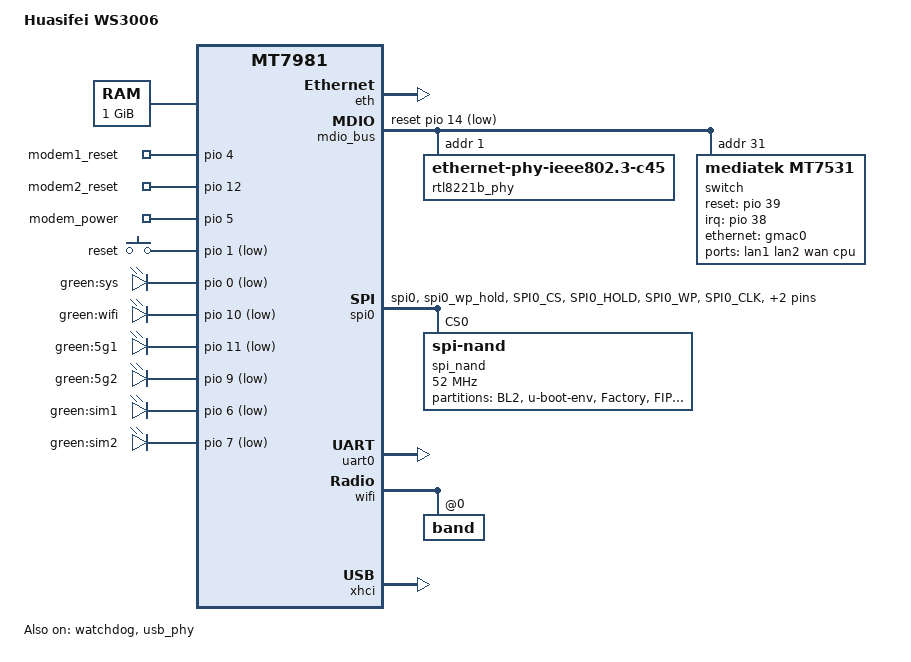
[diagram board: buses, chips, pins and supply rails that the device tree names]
// SPDX-License-Identifier: GPL-2.0-or-later OR MIT

/dts-v1/;
#include <dt-bindings/gpio/gpio.h>
#include <dt-bindings/input/input.h>
#include <dt-bindings/leds/common.h>
#include <dt-bindings/pinctrl/mt65xx.h>

#include "mt7981b.dtsi"

/ {
	model = "Huasifei WS3006";
	compatible = "huasifei,ws3006", "mediatek,mt7981";

	aliases {
		serial0 = &uart0;
		led-boot = &led_sys;
		led-failsafe = &led_sys;
		led-running = &led_sys;
		led-upgrade = &led_sys;
	};

	chosen {
		stdout-path = "serial0:115200n8";
	};

	memory {
		reg = <0 0x40000000 0 0x40000000>;
		device_type = "memory";
	};

	gpio-export {
		compatible = "gpio-export";

		modem1-reset {
			gpio-export,name = "modem1_reset";
			gpio-export,output = <1>;
			gpios = <&pio 4 GPIO_ACTIVE_HIGH>;
		};

		modem2-reset {
			gpio-export,name = "modem2_reset";
			gpio-export,output = <1>;
			gpios = <&pio 12 GPIO_ACTIVE_HIGH>;
		};

		modem-power {
			gpio-export,name = "modem_power";
			gpio-export,output = <0>;
			gpios = <&pio 5 GPIO_ACTIVE_HIGH>;
		};
	};

	gpio-keys {
		compatible = "gpio-keys";

		reset {
			label = "reset";
			linux,code = <KEY_RESTART>;
			gpios = <&pio 1 GPIO_ACTIVE_LOW>;
		};
	};

	gpio-leds {
		compatible = "gpio-leds";

		led_sys: led-0 {
			label = "green:sys";
			gpios = <&pio 0 GPIO_ACTIVE_LOW>;
		};

		led-1 {
			label = "green:wifi";
			gpios = <&pio 10 GPIO_ACTIVE_LOW>;
			linux,default-trigger = "phy0tpt";
		};

		led-2 {
			label = "green:5g1";
			gpios = <&pio 11 GPIO_ACTIVE_LOW>;
		};

		led-3 {
			label = "green:5g2";
			gpios = <&pio 9 GPIO_ACTIVE_LOW>;
		};

		led-4 {
			label = "green:sim1";
			gpios = <&pio 6 GPIO_ACTIVE_LOW>;
		};

		led-5 {
			label = "green:sim2";
			gpios = <&pio 7 GPIO_ACTIVE_LOW>;
		};
	};
};

&eth {
	pinctrl-names = "default";
	pinctrl-0 = <&mdio_pins>;
	status = "okay";

	gmac0: mac@0 {
		compatible = "mediatek,eth-mac";
		reg = <0>;
		phy-mode = "2500base-x";
		nvmem-cells = <&macaddr_factory_4 1>;
		nvmem-cell-names = "mac-address";

		fixed-link {
			speed = <2500>;
			full-duplex;
			pause;
		};
	};

	gmac1: mac@1 {
		compatible = "mediatek,eth-mac";
		reg = <1>;
		phy-mode = "gmii";
		phy-handle = <&int_gbe_phy>;
		nvmem-cells = <&macaddr_factory_4 1>;
		nvmem-cell-names = "mac-address";
		label = "lan3";
	};
};

&mdio_bus {
	reset-gpios = <&pio 14 GPIO_ACTIVE_LOW>;
	reset-delay-us = <100000>;
	reset-post-delay-us = <100000>;

	rtl8221b_phy: ethernet-phy@1 {
		compatible = "ethernet-phy-ieee802.3-c45";
		reg = <1>;
		realtek,aldps-enable;
	};

	switch: switch@1f {
		compatible = "mediatek,mt7531";
		reg = <31>;
		reset-gpios = <&pio 39 GPIO_ACTIVE_HIGH>;
		interrupt-controller;
		#interrupt-cells = <1>;
		interrupt-parent = <&pio>;
		interrupts = <38 IRQ_TYPE_LEVEL_HIGH>;

		ports {
			#address-cells = <1>;
			#size-cells = <0>;

			port@0 {
				reg = <0>;
				label = "lan1";
				nvmem-cells = <&macaddr_factory_4 1>;
				nvmem-cell-names = "mac-address";
			};

			port@1 {
				reg = <1>;
				label = "lan2";
				nvmem-cells = <&macaddr_factory_4 1>;
				nvmem-cell-names = "mac-address";
			};

			port@5 {
				reg = <5>;
				label = "wan";
				nvmem-cells = <&macaddr_factory_4 2>;
				nvmem-cell-names = "mac-address";
				phy-mode = "2500base-x";
				phy-handle = <&rtl8221b_phy>;
			};

			port@6 {
				reg = <6>;
				label = "cpu";
				ethernet = <&gmac0>;
				phy-mode = "2500base-x";

				fixed-link {
					speed = <2500>;
					full-duplex;
					pause;
				};
			};
		};
	};
};

&spi0 {
	pinctrl-names = "default";
	pinctrl-0 = <&spi0_flash_pins>;
	status = "okay";

	spi_nand: flash@0 {
		compatible = "spi-nand";
		reg = <0>;

		spi-max-frequency = <52000000>;
		spi-tx-buswidth = <4>;
		spi-rx-buswidth = <4>;

		mediatek,nmbm;
		mediatek,bmt-max-ratio = <1>;
		mediatek,bmt-max-reserved-blocks = <64>;

		partitions {
			compatible = "fixed-partitions";
			#address-cells = <1>;
			#size-cells = <1>;

			partition@0 {
				label = "BL2";
				reg = <0x0 0x100000>;
				read-only;
			};

			partition@100000 {
				label = "u-boot-env";
				reg = <0x100000 0x80000>;
			};

			partition@180000 {
				label = "Factory";
				reg = <0x180000 0x200000>;

				nvmem-layout {
					compatible = "fixed-layout";
					#address-cells = <1>;
					#size-cells = <1>;

					eeprom_factory_0: eeprom@0 {
						reg = <0x0 0x1000>;
					};

					macaddr_factory_4: macaddr@4 {
						compatible = "mac-base";
						reg = <0x4 0x6>;
						#nvmem-cell-cells = <1>;
					};
				};
			};

			partition@380000 {
				label = "FIP";
				reg = <0x380000 0x200000>;
				read-only;
			};

			partition@580000 {
				label = "ubi";
				reg = <0x580000 0xe280000>;
			};
		};
	};
};

&pio {
	spi0_flash_pins: spi0-pins {
		mux {
			function = "spi";
			groups = "spi0", "spi0_wp_hold";
		};

		conf-pu {
			pins = "SPI0_CS", "SPI0_HOLD", "SPI0_WP";
			drive-strength = <MTK_DRIVE_8mA>;
			bias-pull-up = <MTK_PUPD_SET_R1R0_11>;
		};

		conf-pd {
			pins = "SPI0_CLK", "SPI0_MOSI", "SPI0_MISO";
			drive-strength = <MTK_DRIVE_8mA>;
			bias-pull-down = <MTK_PUPD_SET_R1R0_11>;
		};
	};
};

&uart0 {
	status = "okay";
};

&watchdog {
	status = "okay";
};

&wifi {
	status = "okay";
	nvmem-cells = <&eeprom_factory_0>;
	nvmem-cell-names = "eeprom";

	band@0 {
		reg = <0>;
		nvmem-cells = <&macaddr_factory_4 0>;
		nvmem-cell-names = "mac-address";
	};
};

&usb_phy {
	status = "okay";
};

&xhci {
	status = "okay";
};
